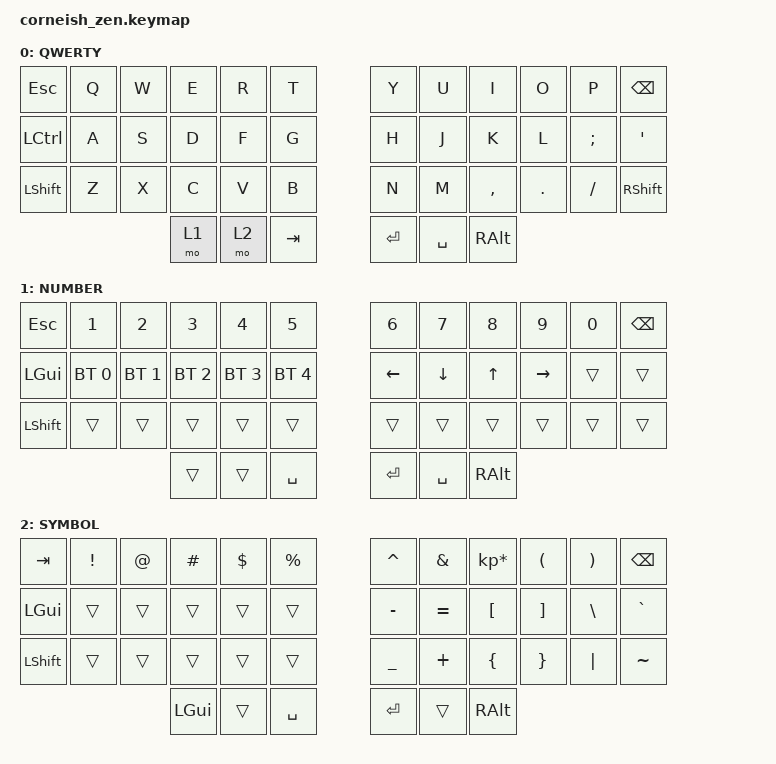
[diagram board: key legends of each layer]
/*
*
* Copyright (c) 2021 Darryl deHaan
* SPDX-License-Identifier: MIT
*
*/

#include <behaviors.dtsi>
#include <dt-bindings/zmk/keys.h>
#include <dt-bindings/zmk/bt.h>

/ {
  chosen {
    zmk,matrix_transform = &default_transform;
    //zmk,matrix_transform = &five_column_transform;
  };
};

/ {
        keymap {
                compatible = "zmk,keymap";

                default_layer {
                        label = "QWERTY";
// -----------------------------------------------------------------------------------------
// |  ESC |  Q  |  W  |  E  |  R  |  T  |   |  Y  |  U   |  I  |  O  |  P  | BKSP |
// | CTRL |  A  |  S  |  D  |  F  |  G  |   |  H  |  J   |  K  |  L  |  ;  |  '   |
// | SHFT |  Z  |  X  |  C  |  V  |  B  |   |  N  |  M   |  ,  |  .  |  /  | SHFT |
//                    | LWR | RSE | TAB |   | ENT | SPC  | ALT |
                        bindings = <
   &kp ESC   &kp Q &kp W &kp E &kp R &kp T   &kp Y &kp U  &kp I     &kp O   &kp P    &kp BSPC
   &kp LCTRL &kp A &kp S &kp D &kp F &kp G   &kp H &kp J  &kp K     &kp L   &kp SEMI &kp SQT
   &kp LSHFT &kp Z &kp X &kp C &kp V &kp B   &kp N &kp M  &kp COMMA &kp DOT &kp FSLH &kp RSHFT
                       &mo 1 &mo 2 &kp TAB   &kp RET &kp SPACE &kp RALT
                        >;
                };
                lower_layer {
                        label = "NUMBER";
// -----------------------------------------------------------------------------------------
// |  ESC |  1  |  2  |  3  |  4  |  5  |   |  6  |  7  |  8  |  9  |  0  | BKSP |
// |  GUI | BT1 | BT2 | BT3 | BT4 | BT5 |   | LFT | DWN |  UP | RGT |     |      |
// | SHFT |     |     |     |     |     |   |     |     |     |     |     |      |
//                    |     |     | SPC |   | ENT | SPC | ALT |
                        bindings = <
   &kp ESC    &kp N1       &kp N2       &kp N3       &kp N4       &kp N5         &kp N6   &kp N7   &kp N8 &kp N9    &kp N0 &kp BSPC
   &kp LGUI   &bt BT_SEL 0 &bt BT_SEL 1 &bt BT_SEL 2 &bt BT_SEL 3 &bt BT_SEL 4   &kp LEFT &kp DOWN &kp UP &kp RIGHT &trans &trans
   &kp LSHFT  &trans       &trans       &trans       &trans       &trans         &trans   &trans   &trans &trans    &trans &trans
                                          &trans     &trans       &kp SPACE      &kp RET  &kp SPACE  &kp RALT
                        >;
                };

                raise_layer {
                        label = "SYMBOL";
// -----------------------------------------------------------------------------------------
// |  TAB |  !  |  @  |  #  |  $  |  %  |   |  ^  |  &  |  *  |  (  |  )  | BKSP |
// | GUI  |     |     |     |     |     |   |  -  |  =  |  [  |  ]  |  \  |  `   |
// | SHFT |     |     |     |     |     |   |  _  |  +  |  {  |  }  | "|" |  ~   |
//                    | GUI |     | SPC |   | ENT |     | ALT |
                        bindings = <
   &kp  TAB  &kp EXCL &kp AT &kp HASH &kp DLLR &kp PRCNT   &kp CARET &kp AMPS  &kp KP_MULTIPLY &kp LPAR &kp RPAR &kp BSPC
   &kp LGUI  &trans   &trans &trans   &trans   &trans      &kp MINUS &kp EQUAL &kp LBKT        &kp RBKT &kp BSLH &kp GRAVE
   &kp LSHFT &trans   &trans &trans   &trans   &trans      &kp UNDER &kp PLUS  &kp LBRC        &kp RBRC &kp PIPE &kp TILDE
                        &kp LGUI &trans   &kp SPACE   &kp RET   &trans    &kp RALT
                        >;
                };
        };
};
